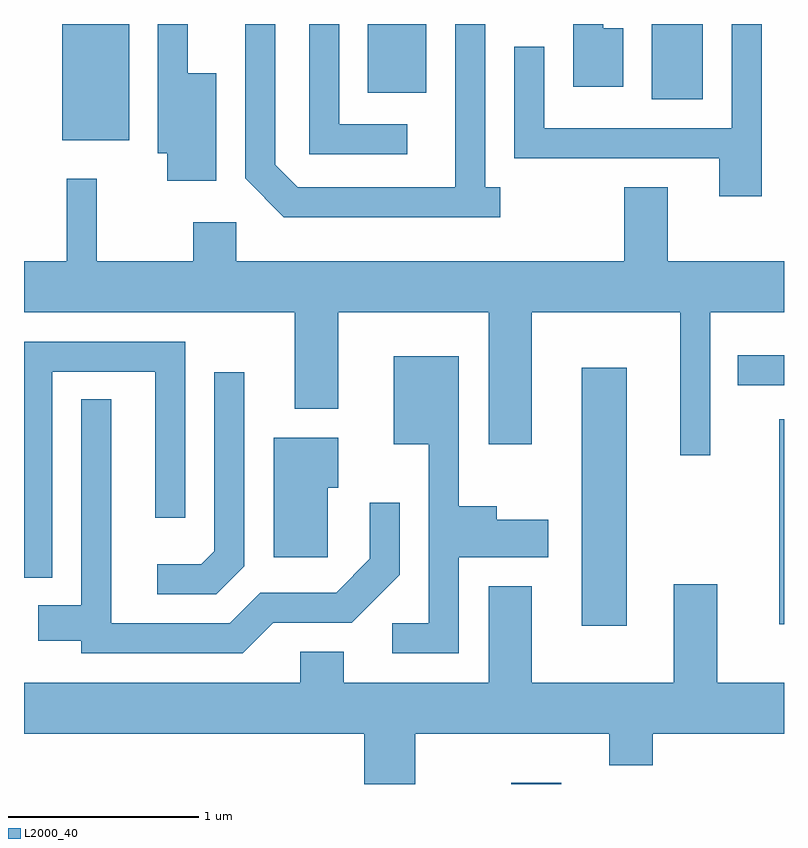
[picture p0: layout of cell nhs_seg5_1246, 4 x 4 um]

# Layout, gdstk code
import gdstk
lib = gdstk.Library(unit=1e-6, precision=1e-09)
def R(c, l, rs):  # rectangles x0, y0, x1, y1
    for r in rs: c.add(gdstk.rectangle(r[:2], r[2:], *l))
def P(c, l, *ps):  # polygons
    for p in ps: c.add(gdstk.Polygon(p, *l))
L2000_40 = (2000, 40)

nhs_seg5_1246 = lib.new_cell('nhs_seg5_1246')
R(nhs_seg5_1246, L2000_40, [(224.176,1472.072,224.438,1472.079), (224.546,1472.906,224.784,1474.264), (225.586,1472.913,225.611,1473.993), (225.368,1474.171,225.611,1474.329), (221.811,1475.461,222.164,1476.072), (224.916,1475.676,225.184,1476.072), (223.421,1475.711,223.729,1476.072)])
P(nhs_seg5_1246, L2000_40, [(223.628,1475.544),(223.269,1475.544),(223.269,1476.072),(223.111,1476.072),(223.111,1475.386),(223.628,1475.386)],
  [(224.118,1475.214),(224.039,1475.214),(224.039,1476.072),(223.881,1476.072),(223.881,1475.214),(223.052,1475.214),(222.934,1475.332),(222.934,1476.072),(222.776,1476.072),(222.776,1475.259),(222.979,1475.056),(224.118,1475.056)],
  [(222.624,1475.814),(222.474,1475.814),(222.474,1476.072),(222.316,1476.072),(222.316,1475.391),(222.366,1475.391),(222.366,1475.246),(222.624,1475.246)],
  [(224.764,1476.049),(224.659,1476.049),(224.659,1476.072),(224.501,1476.072),(224.501,1475.741),(224.764,1475.741)],
  [(225.494,1476.072),(225.336,1476.072),(225.336,1475.524),(224.349,1475.524),(224.349,1475.953),(224.191,1475.953),(224.191,1475.366),(225.271,1475.366),(225.271,1475.166),(225.494,1475.166)],
  [(225.224,1474.556),(225.611,1474.556),(225.611,1474.824),(224.999,1474.824),(224.999,1475.214),(224.771,1475.214),(224.771,1474.824),(222.729,1474.824),(222.729,1475.029),(222.501,1475.029),(222.501,1474.824),(221.994,1474.824),(221.994,1475.258),(221.836,1475.258),(221.836,1474.824),(221.611,1474.824),(221.611,1474.556),(223.036,1474.556),(223.036,1474.046),(223.264,1474.046),(223.264,1474.556),(224.056,1474.556),(224.056,1473.861),(224.284,1473.861),(224.284,1474.556),(225.066,1474.556),(225.066,1473.803),(225.224,1473.803)],
  [(221.759,1474.241),(222.301,1474.241),(222.301,1473.473),(222.459,1473.473),(222.459,1474.399),(221.611,1474.399),(221.611,1473.158),(221.759,1473.158)],
  [(223.899,1473.266),(224.369,1473.266),(224.369,1473.464),(224.099,1473.464),(224.099,1473.534),(223.899,1473.534),(223.899,1474.324),(223.556,1474.324),(223.556,1473.861),(223.741,1473.861),(223.741,1472.919),(223.548,1472.919),(223.548,1472.761),(223.899,1472.761)],
  [(222.769,1473.219),(222.769,1474.238),(222.611,1474.238),(222.611,1473.297),(222.544,1473.229),(222.313,1473.229),(222.313,1473.071),(222.622,1473.071)],
  [(222.922,1472.921),(223.337,1472.921),(223.589,1473.174),(223.589,1473.553),(223.431,1473.553),(223.431,1473.257),(223.254,1473.079),(222.854,1473.079),(222.694,1472.919),(222.069,1472.919),(222.069,1474.098),(221.911,1474.098),(221.911,1473.014),(221.686,1473.014),(221.686,1472.826),(221.911,1472.826),(221.911,1472.761),(222.762,1472.761)],
  [(223.209,1473.631),(223.264,1473.631),(223.264,1473.894),(222.926,1473.894),(222.926,1473.266),(223.209,1473.266)],
  [(223.669,1472.336),(224.691,1472.336),(224.691,1472.171),(224.919,1472.171),(224.919,1472.336),(225.611,1472.336),(225.611,1472.604),(225.259,1472.604),(225.259,1473.124),(225.031,1473.124),(225.031,1472.604),(224.284,1472.604),(224.284,1473.114),(224.056,1473.114),(224.056,1472.604),(223.294,1472.604),(223.294,1472.769),(223.066,1472.769),(223.066,1472.604),(221.611,1472.604),(221.611,1472.336),(223.401,1472.336),(223.401,1472.072),(223.669,1472.072)])

lib.write_gds('nhs_seg5_1246.gds')
